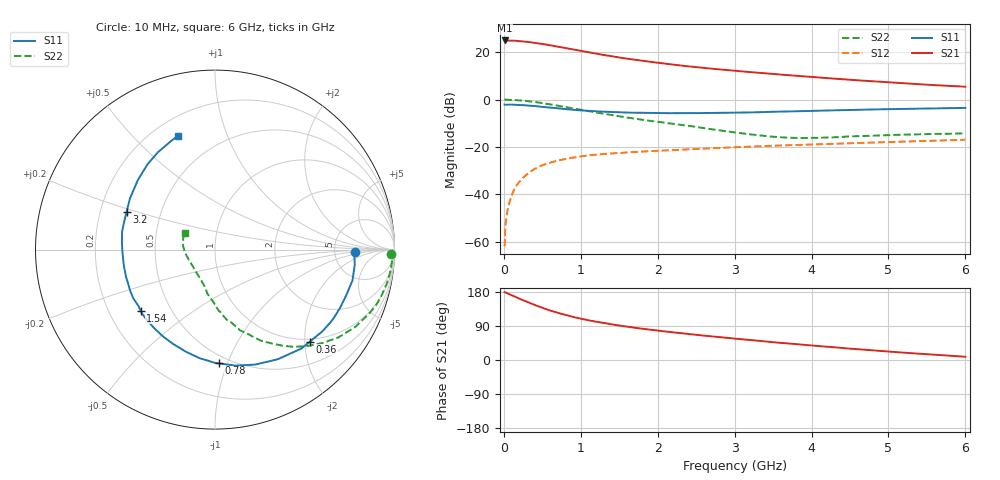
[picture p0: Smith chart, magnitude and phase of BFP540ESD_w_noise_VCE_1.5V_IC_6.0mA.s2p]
! Infineon Technologies  Discrete & RF Semiconductors
! BFP540ESD
! VCE =  1.5 V,  IC =  6.0 mA
! Common Emitter S-Parameters:  Nov 2015
# GHz  S  MA  R  50
!  f  S11  S21  S12  S22
! GHz  MAG  ANG  MAG  ANG  MAG  ANG  MAG  ANG
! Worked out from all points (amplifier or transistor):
!   210 points, 10 MHz to 6 GHz, reference 50 ohm
!   highest |S21| = 25.0 dB at 10 MHz (marker M1)
!   |S21| within 3 dB of that: start of sweep to 766.6 MHz
!   unconditionally stable (mu >= 1): 3.149 GHz to end of sweep
!   at 185 MHz: K = 0.07, MSG = 30.1 dB, |S12| = -35.4 dB
!   at 1.52 GHz: K = 0.56, MSG = 20.1 dB, |S12| = -22.6 dB
!   at 6 GHz: K = 1.21, MAG = 8.4 dB, |S12| = -17.0 dB
!   lowest NFmin = 0.73 dB at 900 MHz
!   S11 on the Smith chart (normalised r, x): 10 MHz: 8.10, -0.62; 360 MHz: 0.94, -2.11; 780 MHz: 0.44, -0.93; 1.54 GHz: 0.34, -0.32; 3.2 GHz: 0.31, +0.18; 6 GHz: 0.30, +0.68
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0.01  0.7814 -1.1  17.74 178.9  0.0008 95.6  0.9788 -1.4
0.02  0.7778 -2.8  17.54 178.4  0.0021 83.1  1 -1.6
0.05  0.7831 -6.2  17.67 175.5  0.0048 89.0  0.9885 -3.7
0.15  0.775 -18.8  17.5 166.6  0.0142 82.6  0.9756 -11.2
0.28  0.7556 -34.7  16.75 155.2  0.0247 75.2  0.9397 -20.7
0.36  0.7364 -44.1  16.14 148.7  0.0311 70.2  0.9073 -26.1
0.4  0.732 -48.8  15.87 145.3  0.0343 68.2  0.8928 -28.8
0.5  0.7041 -60.2  15.06 137.6  0.041 63.8  0.845 -35.3
0.6  0.6788 -70.7  14.06 130.6  0.0464 59.4  0.7944 -40.9
0.78  0.6342 -88.0  12.44 119.9  0.0549 53.0  0.7046 -50.1
0.9  0.6106 -98.2  11.41 113.6  0.0595 48.9  0.6501 -55.3
1.02  0.5875 -107.4  10.51 108.3  0.0636 46.1  0.5992 -60.0
1.2  0.5643 -120.7  9.298 100.9  0.0681 42.1  0.5327 -66.2
1.54  0.536 -140.7  7.577 89.8  0.075 37.6  0.4334 -75.7
1.7  0.5299 -149.1  6.956 85.0  0.0779 35.7  0.3965 -80.5
2.02  0.5179 -163.4  5.945 77.0  0.0831 33.4  0.3364 -87.0
2.6  0.5203 175.3  4.659 64.3  0.0921 29.7  0.2486 -99.9
3.1  0.5317 160.0  3.935 54.6  0.0996 27.5  0.1932 -112.0
3.2  0.5352 157.1  3.813 52.9  0.1012 26.9  0.1847 -115.6
4.1  0.583 135.9  2.923 36.6  0.1137 21.8  0.1557 -157.6
5.1  0.632 118.9  2.266 20.8  0.1281 16.6  0.1797 171.3
6  0.667 108.1  1.87 8.6  0.1419 12.5  0.1935 150.7
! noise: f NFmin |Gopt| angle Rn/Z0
0.9  0.73  0.05  38  0.12
1.8  0.95  0.08  153  0.11
2.4  0.97  0.09  154  0.1
3  1.1  0.19  178  0.09
4  1.28  0.3  -122  0.14
5  1.5  0.42  -99  0.29
6  1.73  0.51  -100  0.43
